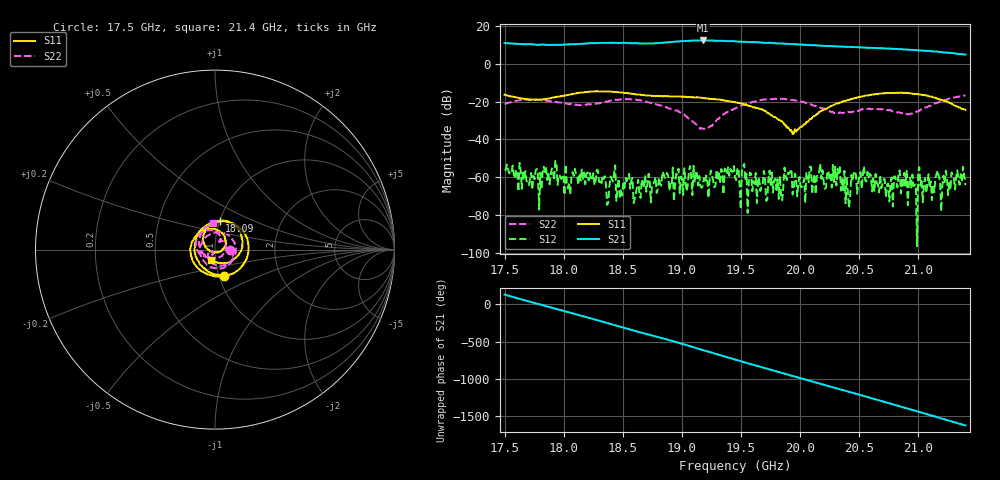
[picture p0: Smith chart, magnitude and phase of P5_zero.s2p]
!Created with skrf (http://scikit-rf.org).
# GHz S RI R 50.0
!freq ReS11 ImS11 ReS21 ImS21 ReS12 ImS12 ReS22 ImS22
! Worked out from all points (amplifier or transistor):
!   401 points, 17.5 GHz to 21.4 GHz, reference 50 ohm
!   highest |S21| = 12.4 dB at 19.18 GHz (marker M1)
!   |S21| within 3 dB of that: start of sweep to 20.27 GHz
!   unconditionally stable (mu >= 1): start of sweep to end of sweep
!   at 18.14 GHz: K = 173.37, MAG = 10.8 dB, |S12| = -61.8 dB
!   at 19.45 GHz: K = 128.73, MAG = 12.0 dB, |S12| = -60.3 dB
!   at 21.4 GHz: K = 448.85, MAG = 5.1 dB, |S12| = -64.2 dB
!   S11 on the Smith chart (normalised r, x): 17.5 GHz: 1.06, -0.31; 18.09 GHz: 1.00, +0.33; 21.4 GHz: 0.95, -0.11
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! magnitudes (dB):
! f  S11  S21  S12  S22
! 17.5 GHz  -16.3  11.0  -56.3  -21.3
! 17.8 GHz  -18.8  10.2  -57.6  -19.0
! 18.09 GHz  -15.7  10.4  -59.3  -21.3
! 18.15 GHz  -15.2  10.7  -56.0  -21.7
! 18.37 GHz  -14.6  11.1  -74.7  -20.0
! 18.42 GHz  -14.7  11.2  -62.3  -19.2
! 18.47 GHz  -15.0  11.1  -60.8  -19.0
! 18.53 GHz  -15.5  11.0  -62.1  -18.6
! 18.61 GHz  -16.2  11.0  -68.5  -18.9
! 18.81 GHz  -17.0  11.1  -60.3  -21.8
! 18.86 GHz  -17.0  11.3  -60.4  -22.6
! 19.18 GHz  -18.1  12.4  -64.6  -34.3
! 19.45 GHz  -20.3  12.0  -60.3  -23.6
! 19.84 GHz  -30.2  10.8  -69.8  -18.5
! 19.89 GHz  -33.7  10.6  -61.5  -18.8
! 19.93 GHz  -35.1  10.6  -55.7  -19.1
! 20.1 GHz  -28.5  9.9  -68.9  -21.8
! 20.32 GHz  -21.0  9.3  -55.6  -25.9
! 20.41 GHz  -19.1  9.0  -68.7  -25.3
! 20.45 GHz  -18.3  8.9  -58.1  -25.2
! 20.76 GHz  -15.4  8.1  -72.9  -24.6
! 21.4 GHz  -24.2  5.0  -64.2  -16.7
